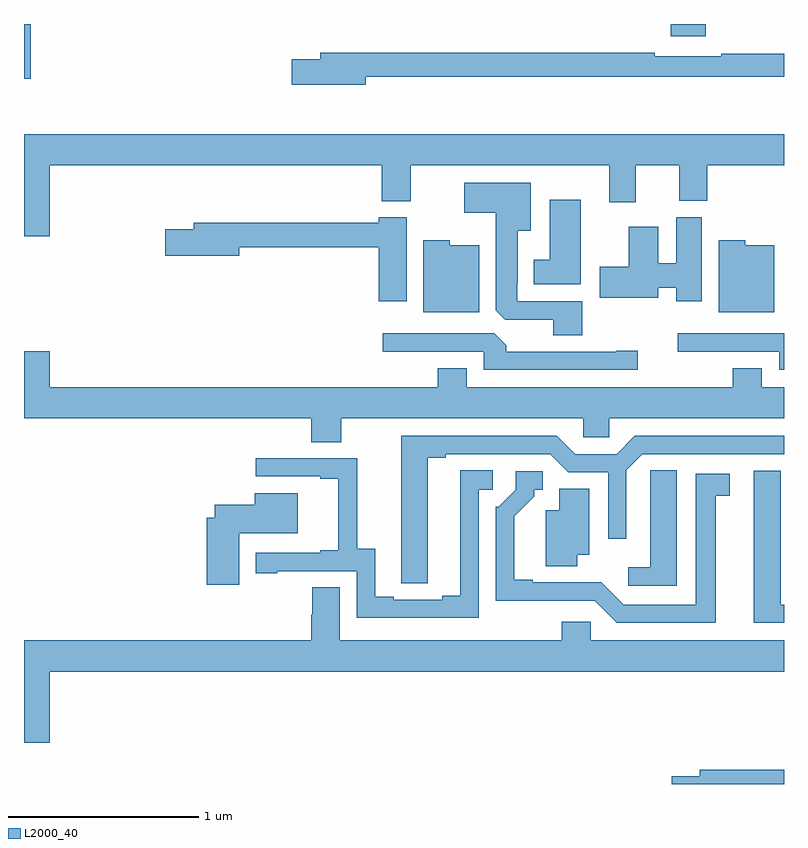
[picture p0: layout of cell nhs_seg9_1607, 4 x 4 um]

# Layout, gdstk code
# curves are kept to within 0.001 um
import gdstk
lib = gdstk.Library(unit=1e-6, precision=1e-09)
def R(c, l, rs):  # rectangles x0, y0, x1, y1
    for r in rs: c.add(gdstk.rectangle(r[:2], r[2:], *l))
def P(c, l, *ps):  # polygons
    for p in ps: c.add(gdstk.Polygon(p, *l))
L2000_40 = (2000, 40)

nhs_seg9_1607 = lib.new_cell('nhs_seg9_1607')
R(nhs_seg9_1607, L2000_40, [(201,1194.213,201.035,1194.5), (204.404,1194.435,204.587,1194.5)])
P(nhs_seg9_1607, L2000_40, [(202.798,1194.222),(205,1194.222),(205,1194.343),(204.67,1194.343),(204.67,1194.33),(204.32,1194.33),(204.32,1194.35),(202.559,1194.35),(202.559,1194.314),(202.41,1194.314),(202.41,1194.179),(202.798,1194.179)],
  [(201.136,1193.756),(202.883,1193.756),(202.883,1193.567),(203.035,1193.567),(203.035,1193.756),(204.08,1193.756),(204.08,1193.562),(204.22,1193.562),(204.22,1193.756),(204.449,1193.756),(204.449,1193.569),(204.597,1193.569),(204.597,1193.756),(205,1193.756),(205,1193.92),(201,1193.92),(201,1193.382),(201.136,1193.382)],
  [(203.939,1193.04),(203.595,1193.04),(203.595,1193.137),(203.599,1193.137),(203.599,1193.411),(203.668,1193.411),(203.668,1193.665),(203.316,1193.665),(203.316,1193.507),(203.483,1193.507),(203.483,1192.993),(203.532,1192.944),(203.786,1192.944),(203.786,1192.861),(203.939,1192.861)],
  [(203.929,1193.575),(203.768,1193.575),(203.768,1193.26),(203.684,1193.26),(203.684,1193.129),(203.929,1193.129)],
  [(204.568,1193.484),(204.434,1193.484),(204.434,1193.241),(204.337,1193.241),(204.337,1193.434),(204.182,1193.434),(204.182,1193.223),(204.03,1193.223),(204.03,1193.06),(204.337,1193.06),(204.337,1193.111),(204.434,1193.111),(204.434,1193.04),(204.568,1193.04)],
  [(203.014,1193.482),(202.868,1193.482),(202.868,1193.455),(201.893,1193.455),(201.893,1193.421),(201.744,1193.421),(201.744,1193.279),(202.132,1193.279),(202.132,1193.326),(202.868,1193.326),(202.868,1193.04),(203.014,1193.04)],
  [(204.949,1193.335),(204.795,1193.335),(204.795,1193.362),(204.656,1193.362),(204.656,1192.982),(204.949,1192.982)],
  [(203.395,1193.335),(203.241,1193.335),(203.241,1193.362),(203.102,1193.362),(203.102,1192.982),(203.395,1192.982)],
  [(205,1192.872),(204.441,1192.872),(204.441,1192.776),(204.975,1192.776),(204.975,1192.68),(205,1192.68)],
  [(204.229,1192.781),(204.116,1192.781),(204.116,1192.776),(203.537,1192.776),(203.537,1192.81),(203.475,1192.872),(202.887,1192.872),(202.887,1192.776),(203.421,1192.776),(203.421,1192.68),(204.229,1192.68)],
  [(202.671,1192.424),(203.943,1192.424),(203.943,1192.326),(204.081,1192.326),(204.081,1192.424),(205,1192.424),(205,1192.588),(204.883,1192.588),(204.883,1192.687),(204.731,1192.687),(204.731,1192.588),(203.329,1192.588),(203.329,1192.687),(203.177,1192.687),(203.177,1192.588),(201.136,1192.588),(201.136,1192.777),(201,1192.777),(201,1192.424),(202.511,1192.424),(202.511,1192.3),(202.671,1192.3)],
  [(203.125,1192.216),(203.221,1192.216),(203.221,1192.236),(203.769,1192.236),(203.865,1192.14),(204.075,1192.14),(204.075,1191.792),(204.171,1191.792),(204.171,1192.152),(204.255,1192.236),(205,1192.236),(205,1192.332),(204.215,1192.332),(204.119,1192.236),(203.901,1192.236),(203.805,1192.332),(202.985,1192.332),(202.986,1191.556),(203.125,1191.556)],
  [(203.394,1192.05),(203.467,1192.05),(203.467,1192.151),(203.297,1192.151),(203.297,1191.491),(203.201,1191.491),(203.201,1191.471),(202.945,1191.471),(202.945,1191.486),(202.849,1191.486),(202.849,1191.737),(202.755,1191.737),(202.755,1192.215),(202.221,1192.215),(202.221,1192.119),(202.559,1192.119),(202.559,1192.107),(202.655,1192.107),(202.655,1191.73),(202.559,1191.73),(202.559,1191.717),(202.221,1191.717),(202.221,1191.609),(202.333,1191.609),(202.333,1191.621),(202.752,1191.621),(202.752,1191.375),(203.394,1191.375)],
  [(204.436,1192.151),(204.297,1192.151),(204.297,1192.043),(204.296,1192.043),(204.296,1191.64),(204.18,1191.64),(204.18,1191.543),(204.436,1191.543)],
  [(205,1191.444),(204.982,1191.444),(204.982,1192.15),(204.842,1192.15),(204.842,1191.348),(205,1191.348)],
  [(204.64,1192.018),(204.715,1192.018),(204.715,1192.134),(204.536,1192.134),(204.536,1191.444),(204.156,1191.444),(204.038,1191.562),(203.677,1191.561),(203.677,1191.574),(203.581,1191.574),(203.581,1191.91),(203.686,1192.015),(203.686,1192.05),(203.731,1192.05),(203.731,1192.146),(203.589,1192.146),(203.589,1192.05),(203.499,1191.96),(203.484,1191.96),(203.484,1191.464),(204.003,1191.465),(204.12,1191.348),(204.64,1191.348)],
  [(203.911,1191.707),(203.974,1191.707),(203.974,1192.055),(203.816,1192.055),(203.816,1191.94),(203.747,1191.94),(203.747,1191.646),(203.911,1191.646)],
  [(202.132,1191.821),(202.441,1191.821),(202.441,1192.03),(202.214,1192.03),(202.214,1191.969),(202.004,1191.969),(202.004,1191.901),(201.962,1191.901),(201.962,1191.549),(202.132,1191.549)],
  [(201.136,1191.092),(205,1191.092),(205,1191.256),(203.982,1191.256),(203.982,1191.354),(203.831,1191.354),(203.831,1191.256),(202.663,1191.256),(202.663,1191.536),(202.516,1191.536),(202.516,1191.39),(202.511,1191.39),(202.511,1191.256),(201,1191.256),(201,1190.718),(201.136,1190.718)],
  [(205,1190.576),(204.557,1190.576),(204.557,1190.54),(204.408,1190.54),(204.408,1190.5),(205,1190.5)])

lib.write_gds('nhs_seg9_1607.gds')
